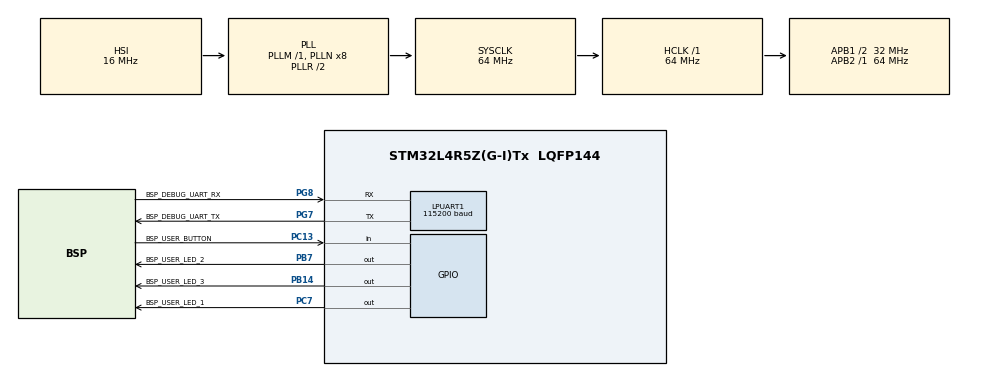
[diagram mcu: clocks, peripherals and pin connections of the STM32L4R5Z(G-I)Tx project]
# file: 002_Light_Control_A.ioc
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LPUART1.BaudRate=115200
LPUART1.WordLength=UART_WORDLENGTH_8B
Mcu.Family=STM32L4
Mcu.Name=STM32L4R5Z(G-I)Tx
Mcu.Package=LQFP144
NVIC.PriorityGroup=NVIC_PRIORITYGROUP_4
NVIC.TIM1_TRG_COM_TIM17_IRQn=true\:0\:0\:false\:false\:true\:true\:true\:true
NVIC.TIM1_UP_TIM16_IRQn=true\:0\:0\:false\:false\:true\:true\:true\:true
PB14.GPIO_Label=BSP_USER_LED_3
PB14.Signal=GPIO_Output
PB7.GPIO_Label=BSP_USER_LED_2
PB7.Signal=GPIO_Output
PC13.GPIO_Label=BSP_USER_BUTTON
PC13.GPIO_PuPd=GPIO_PULLDOWN
PC13.Signal=GPIO_Input
PC7.GPIO_Label=BSP_USER_LED_1
PC7.Signal=GPIO_Output
PG7.GPIO_Label=BSP_DEBUG_UART_TX
PG7.Mode=Asynchronous
PG7.Signal=LPUART1_TX
PG8.GPIO_Label=BSP_DEBUG_UART_RX
PG8.Mode=Asynchronous
PG8.Signal=LPUART1_RX
ProjectManager.HeapSize=0x200
ProjectManager.StackSize=0x400
ProjectManager.TargetToolchain=STM32CubeIDE
RCC.48MHZClocksFreq_Value=24000000
RCC.ADCFreq_Value=64000000
RCC.AHBFreq_Value=64000000
RCC.APB1CLKDivider=RCC_HCLK_DIV2
RCC.APB1Freq_Value=32000000
RCC.APB1TimFreq_Value=64000000
RCC.APB2Freq_Value=64000000
RCC.APB2TimFreq_Value=64000000
RCC.CortexFreq_Value=64000000
RCC.HCLKFreq_Value=64000000
RCC.HSE_VALUE=8000000
RCC.HSI48_VALUE=48000000
RCC.HSI_VALUE=16000000
RCC.LSE_VALUE=32768
RCC.MSI_VALUE=4000000
RCC.PLLMUL=RCC_PLL_MUL9
RCC.PLLSourceVirtual=RCC_PLLSOURCE_HSI
RCC.PRESCALERUSB=RCC_USBCLKSOURCE_PLL_DIV1_5
RCC.SYSCLKFreq_VALUE=64000000
RCC.SYSCLKSource=RCC_SYSCLKSOURCE_PLLCLK
RCC.SYSCLKSourceVirtual=RCC_SYSCLKSOURCE_PLLCLK
RCC.USBFreq_Value=64000000
RCC.VCOOutputFreq_Value=128000000
TIM16.Period=1000-1
TIM16.Prescaler=64000-1
TIM17.Prescaler=64000-1
VP_TIM16_VS_ClockSourceINT.Mode=Enable_Timer
VP_TIM17_VS_ClockSourceINT.Mode=Enable_Timer
board=NUCLEO-L4R5ZI

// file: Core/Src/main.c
/* USER CODE BEGIN Header */
/**
  ******************************************************************************
  * @file           : main.c
  * @brief          : Main program body
  ******************************************************************************
  * @attention
  *
  * Copyright (c) 2024 STMicroelectronics.
  * All rights reserved.
  *
  * This software is licensed under terms that can be found in the LICENSE file
  * in the root directory of this software component.
  * If no LICENSE file comes with this software, it is provided AS-IS.
  *
  ******************************************************************************
  */
/* USER CODE END Header */
#include "main.h"

/* USER CODE BEGIN Includes */
#include "stdio.h"
/* USER CODE END Includes */

UART_HandleTypeDef hlpuart1;

TIM_HandleTypeDef htim16;
TIM_HandleTypeDef htim17;

/* USER CODE BEGIN PV */

enum event{
	BLINK,
	ON,
	OFF,
	SCROLL
};

typedef enum{
	LIGHTS_OFF,
	LIGHT_BLINK,
	LIGHTS_ON,
	LIGHTS_SCROLL
}light_state_t;

light_state_t curr_state = LIGHTS_OFF;

uint8_t led_index = 0;
uint8_t rx_buffer;
uint8_t rx_data;

/* USER CODE END PV */

void SystemClock_Config(void);
static void MX_GPIO_Init(void);
static void MX_LPUART1_UART_Init(void);
static void MX_TIM16_Init(void);
static void MX_TIM17_Init(void);
/* USER CODE BEGIN PFP */
void lights_on();
void lights_blink();
void lights_off();
void lights_scroll();
/* USER CODE END PFP */

/* USER CODE BEGIN 0 */

/* state machine function
 *
 * outer switch case is for state transition
 * inner switch case is for event transition  */
void light_state_machine(uint8_t event)
{
	switch (curr_state) {
		case LIGHTS_OFF:{
			switch (event) {
				case BLINK:{
					curr_state = LIGHT_BLINK;			//change the current state
					HAL_TIM_Base_Start_IT(&htim16);		//start timer for led blinking
					HAL_TIM_Base_Stop_IT(&htim17);		//stop the timer
					break;
				}
				case ON:{
					lights_on();
					curr_state = LIGHTS_ON;				//change the current state
					HAL_TIM_Base_Stop_IT(&htim16);		//stop the timer
					HAL_TIM_Base_Stop_IT(&htim17);		//stop the timer
					break;
				}
				case SCROLL:{
					curr_state = LIGHTS_SCROLL;
					HAL_TIM_Base_Start_IT(&htim17);		//start the timer for led scrolling
					HAL_TIM_Base_Stop_IT(&htim16);		//stop the timer
					break;
				}
			}
			break;
		}

		case LIGHT_BLINK:{
			switch (event) {
				case ON:{
					lights_on();
					curr_state = LIGHTS_ON;				//change the current state
					HAL_TIM_Base_Stop_IT(&htim16);		//stop the timer
					HAL_TIM_Base_Stop_IT(&htim17);		//stop the timer
					break;
				}
				case OFF:{
					lights_off();
					curr_state = LIGHTS_OFF;			//change the current state
					HAL_TIM_Base_Stop_IT(&htim16);		//stop the timer
					HAL_TIM_Base_Stop_IT(&htim17);		//stop the timer
					break;
				}
				case SCROLL:{
					curr_state = LIGHTS_SCROLL;
					HAL_TIM_Base_Start_IT(&htim17);		//start the timer for led scrolling
					HAL_TIM_Base_Stop_IT(&htim16);		//stop the timer
					break;
				}
			}
			break;
		}

		case LIGHTS_ON:{
			switch (event) {
				case BLINK:{
					curr_state = LIGHT_BLINK;			//change the current state
					HAL_TIM_Base_Start_IT(&htim16);		//start timer for led blinking
					HAL_TIM_Base_Stop_IT(&htim17);		//stop the timer
					break;
				}

				case OFF:{
					lights_off();
					curr_state = LIGHTS_OFF;			//change the current state
					HAL_TIM_Base_Stop_IT(&htim17);		//stop the timer
					HAL_TIM_Base_Stop_IT(&htim16);		//stop the timer
					break;
				}
				case SCROLL:{
					curr_state = LIGHTS_SCROLL;
					HAL_TIM_Base_Start_IT(&htim17);		//start the timer for led scrolling
					HAL_TIM_Base_Stop_IT(&htim16);		//stop the timer
					break;
				}
			}
			break;
		}

		case LIGHTS_SCROLL:{
			switch (event) {
				case ON:{
					lights_on();
					curr_state = LIGHTS_ON;				//change the current state
					HAL_TIM_Base_Stop_IT(&htim16);		//stop the timer
					HAL_TIM_Base_Stop_IT(&htim17);		//stop the timer
					break;
				}
				case OFF:{
					lights_off();
					curr_state = LIGHTS_OFF;			//change the current state
					HAL_TIM_Base_Stop_IT(&htim16);		//stop the timer
					HAL_TIM_Base_Stop_IT(&htim17);		//stop the timer
					break;
				}
				case BLINK:{
					curr_state = LIGHT_BLINK;			//change the current state
					HAL_TIM_Base_Start_IT(&htim16);		//start timer for led blinking
					HAL_TIM_Base_Stop_IT(&htim17);		//stop the timer
					break;
				}
			}
			break;
		}
	}
}

/* led blinking function */
void lights_blink()
{
	HAL_GPIO_TogglePin(BSP_USER_LED_1_GPIO_Port, BSP_USER_LED_1_Pin);
	HAL_GPIO_TogglePin(BSP_USER_LED_2_GPIO_Port, BSP_USER_LED_2_Pin);
	HAL_GPIO_TogglePin(BSP_USER_LED_3_GPIO_Port, BSP_USER_LED_3_Pin);
}

/* function for turning leds on */
void lights_on()
{
	HAL_GPIO_WritePin(BSP_USER_LED_1_GPIO_Port, BSP_USER_LED_1_Pin,
			GPIO_PIN_SET);
	HAL_GPIO_WritePin(BSP_USER_LED_2_GPIO_Port, BSP_USER_LED_2_Pin,
			GPIO_PIN_SET);
	HAL_GPIO_WritePin(BSP_USER_LED_3_GPIO_Port, BSP_USER_LED_3_Pin,
			GPIO_PIN_SET);
}

/* function for turning leds off */
void lights_off()
{
	HAL_GPIO_WritePin(BSP_USER_LED_1_GPIO_Port, BSP_USER_LED_1_Pin,
			GPIO_PIN_RESET);
	HAL_GPIO_WritePin(BSP_USER_LED_2_GPIO_Port, BSP_USER_LED_2_Pin,
			GPIO_PIN_RESET);
	HAL_GPIO_WritePin(BSP_USER_LED_3_GPIO_Port, BSP_USER_LED_3_Pin,
			GPIO_PIN_RESET);
}

void lights_scroll()
{
	HAL_GPIO_WritePin(BSP_USER_LED_1_GPIO_Port, BSP_USER_LED_1_Pin,
			GPIO_PIN_RESET);
	HAL_GPIO_WritePin(BSP_USER_LED_2_GPIO_Port, BSP_USER_LED_2_Pin,
			GPIO_PIN_RESET);
	HAL_GPIO_WritePin(BSP_USER_LED_3_GPIO_Port, BSP_USER_LED_3_Pin,
			GPIO_PIN_RESET);

	switch (led_index) {
	case 0:
		HAL_GPIO_WritePin(BSP_USER_LED_1_GPIO_Port, BSP_USER_LED_1_Pin,
				GPIO_PIN_SET);  // Turn on LED1
		break;
	case 1:
		HAL_GPIO_WritePin(BSP_USER_LED_2_GPIO_Port, BSP_USER_LED_2_Pin,
				GPIO_PIN_SET); // Turn on LED2
		break;
	case 2:
		HAL_GPIO_WritePin(BSP_USER_LED_3_GPIO_Port, BSP_USER_LED_3_Pin,
				GPIO_PIN_SET);  // Turn on LED3
		break;
	}

	led_index = (led_index + 1) % 3;  // Move to the next LED

}

/* this function wll call after every 1 second due to which leds can blink continuously */
void HAL_TIM_PeriodElapsedCallback(TIM_HandleTypeDef *htim)
{
	if (htim->Instance == TIM16)
	{
		if (curr_state == LIGHT_BLINK)
		{
			lights_blink();
		}

	}
	else if(htim->Instance == TIM17)
	{
		if(curr_state == LIGHTS_SCROLL)
		{
			lights_scroll();
		}
	}
}
/* USER CODE END 0 */

int main(void)
{

  /* MCU Configuration--------------------------------------------------------*/

  /* Reset of all peripherals, Initializes the Flash interface and the Systick. */
  HAL_Init();

  /* Configure the system clock */
  SystemClock_Config();

  /* Initialize all configured peripherals */
  MX_GPIO_Init();
  MX_LPUART1_UART_Init();
  MX_TIM16_Init();
  MX_TIM17_Init();
  /* USER CODE BEGIN 2 */

  HAL_TIM_Base_Start_IT(&htim16);
  HAL_TIM_Base_Start_IT(&htim17);

  /* USER CODE END 2 */

  /* Infinite loop */
  while (1)
  {

    /* USER CODE BEGIN 3 */

	  /* event dispatcher using uart
	   * receive the command through uart due to which respective event will generate */
	  if(HAL_UART_Receive(&hlpuart1, &rx_buffer, 1, HAL_MAX_DELAY) == HAL_OK)
	  {
//		  rx_data = rx_buffer;
//		  printf("received data is: %d\r\n", rx_data);

		  if(rx_buffer == 'b')
		  {
			  light_state_machine(BLINK);
		  }
		  else if(rx_buffer == 'o')
		  {
			  light_state_machine(ON);
		  }
		  else if(rx_buffer == 's')
		  {
			  light_state_machine(SCROLL);
		  }
		  else if(rx_buffer == 'f')
		  {
			  light_state_machine(OFF);
		  }
	  }

//	  else if(HAL_GPIO_ReadPin(BSP_USER_BUTTON_GPIO_Port, BSP_USER_BUTTON_Pin)== GPIO_PIN_SET)
//	  {
//		  stopblink = 1;
//		  light_state_machine(OFF);
//	  }
  }
  /* USER CODE END 3 */
}

void SystemClock_Config(void)
{
  RCC_OscInitTypeDef RCC_OscInitStruct = {0};
  RCC_ClkInitTypeDef RCC_ClkInitStruct = {0};

  /** Configure the main internal regulator output voltage
  */
  if (HAL_PWREx_ControlVoltageScaling(PWR_REGULATOR_VOLTAGE_SCALE1) != HAL_OK)
  {
    Error_Handler();
  }

  /** Initializes the RCC Oscillators according to the specified parameters
  * in the RCC_OscInitTypeDef structure.
  */
  RCC_OscInitStruct.OscillatorType = RCC_OSCILLATORTYPE_HSI;
  RCC_OscInitStruct.HSIState = RCC_HSI_ON;
  RCC_OscInitStruct.HSICalibrationValue = RCC_HSICALIBRATION_DEFAULT;
  RCC_OscInitStruct.PLL.PLLState = RCC_PLL_ON;
  RCC_OscInitStruct.PLL.PLLSource = RCC_PLLSOURCE_HSI;
  RCC_OscInitStruct.PLL.PLLM = 1;
  RCC_OscInitStruct.PLL.PLLN = 8;
  RCC_OscInitStruct.PLL.PLLP = RCC_PLLP_DIV2;
  RCC_OscInitStruct.PLL.PLLQ = RCC_PLLQ_DIV2;
  RCC_OscInitStruct.PLL.PLLR = RCC_PLLR_DIV2;
  if (HAL_RCC_OscConfig(&RCC_OscInitStruct) != HAL_OK)
  {
    Error_Handler();
  }

  /** Initializes the CPU, AHB and APB buses clocks
  */
  RCC_ClkInitStruct.ClockType = RCC_CLOCKTYPE_HCLK|RCC_CLOCKTYPE_SYSCLK
                              |RCC_CLOCKTYPE_PCLK1|RCC_CLOCKTYPE_PCLK2;
  RCC_ClkInitStruct.SYSCLKSource = RCC_SYSCLKSOURCE_PLLCLK;
  RCC_ClkInitStruct.AHBCLKDivider = RCC_SYSCLK_DIV1;
  RCC_ClkInitStruct.APB1CLKDivider = RCC_HCLK_DIV2;
  RCC_ClkInitStruct.APB2CLKDivider = RCC_HCLK_DIV1;

  if (HAL_RCC_ClockConfig(&RCC_ClkInitStruct, FLASH_LATENCY_3) != HAL_OK)
  {
    Error_Handler();
  }
}

static void MX_LPUART1_UART_Init(void)
{

  hlpuart1.Instance = LPUART1;
  hlpuart1.Init.BaudRate = 115200;
  hlpuart1.Init.WordLength = UART_WORDLENGTH_8B;
  hlpuart1.Init.StopBits = UART_STOPBITS_1;
  hlpuart1.Init.Parity = UART_PARITY_NONE;
  hlpuart1.Init.Mode = UART_MODE_TX_RX;
  hlpuart1.Init.HwFlowCtl = UART_HWCONTROL_NONE;
  hlpuart1.Init.OneBitSampling = UART_ONE_BIT_SAMPLE_DISABLE;
  hlpuart1.Init.ClockPrescaler = UART_PRESCALER_DIV1;
  hlpuart1.AdvancedInit.AdvFeatureInit = UART_ADVFEATURE_NO_INIT;
  hlpuart1.FifoMode = UART_FIFOMODE_DISABLE;
  if (HAL_UART_Init(&hlpuart1) != HAL_OK)
  {
    Error_Handler();
  }
  if (HAL_UARTEx_SetTxFifoThreshold(&hlpuart1, UART_TXFIFO_THRESHOLD_1_8) != HAL_OK)
  {
    Error_Handler();
  }
  if (HAL_UARTEx_SetRxFifoThreshold(&hlpuart1, UART_RXFIFO_THRESHOLD_1_8) != HAL_OK)
  {
    Error_Handler();
  }
  if (HAL_UARTEx_DisableFifoMode(&hlpuart1) != HAL_OK)
  {
    Error_Handler();
  }

}

static void MX_TIM16_Init(void)
{

  htim16.Instance = TIM16;
  htim16.Init.Prescaler = 64000-1;
  htim16.Init.CounterMode = TIM_COUNTERMODE_UP;
  htim16.Init.Period = 500-1;
  htim16.Init.ClockDivision = TIM_CLOCKDIVISION_DIV1;
  htim16.Init.RepetitionCounter = 0;
  htim16.Init.AutoReloadPreload = TIM_AUTORELOAD_PRELOAD_DISABLE;
  if (HAL_TIM_Base_Init(&htim16) != HAL_OK)
  {
    Error_Handler();
  }

}

static void MX_TIM17_Init(void)
{

  htim17.Instance = TIM17;
  htim17.Init.Prescaler = 64000-1;
  htim17.Init.CounterMode = TIM_COUNTERMODE_UP;
  htim17.Init.Period = 200-1;
  htim17.Init.ClockDivision = TIM_CLOCKDIVISION_DIV1;
  htim17.Init.RepetitionCounter = 0;
  htim17.Init.AutoReloadPreload = TIM_AUTORELOAD_PRELOAD_DISABLE;
  if (HAL_TIM_Base_Init(&htim17) != HAL_OK)
  {
    Error_Handler();
  }

}

static void MX_GPIO_Init(void)
{
  GPIO_InitTypeDef GPIO_InitStruct = {0};

  /* GPIO Ports Clock Enable */
  __HAL_RCC_GPIOC_CLK_ENABLE();
  __HAL_RCC_GPIOB_CLK_ENABLE();
  __HAL_RCC_GPIOG_CLK_ENABLE();
  HAL_PWREx_EnableVddIO2();

  /*Configure GPIO pin Output Level */
  HAL_GPIO_WritePin(GPIOB, BSP_USER_LED_3_Pin|BSP_USER_LED_2_Pin, GPIO_PIN_RESET);

  /*Configure GPIO pin Output Level */
  HAL_GPIO_WritePin(BSP_USER_LED_1_GPIO_Port, BSP_USER_LED_1_Pin, GPIO_PIN_RESET);

  /*Configure GPIO pin : BSP_USER_BUTTON_Pin */
  GPIO_InitStruct.Pin = BSP_USER_BUTTON_Pin;
  GPIO_InitStruct.Mode = GPIO_MODE_INPUT;
  GPIO_InitStruct.Pull = GPIO_PULLDOWN;
  HAL_GPIO_Init(BSP_USER_BUTTON_GPIO_Port, &GPIO_InitStruct);

  /*Configure GPIO pins : BSP_USER_LED_3_Pin BSP_USER_LED_2_Pin */
  GPIO_InitStruct.Pin = BSP_USER_LED_3_Pin|BSP_USER_LED_2_Pin;
  GPIO_InitStruct.Mode = GPIO_MODE_OUTPUT_PP;
  GPIO_InitStruct.Pull = GPIO_NOPULL;
  GPIO_InitStruct.Speed = GPIO_SPEED_FREQ_LOW;
  HAL_GPIO_Init(GPIOB, &GPIO_InitStruct);

  /*Configure GPIO pin : BSP_USER_LED_1_Pin */
  GPIO_InitStruct.Pin = BSP_USER_LED_1_Pin;
  GPIO_InitStruct.Mode = GPIO_MODE_OUTPUT_PP;
  GPIO_InitStruct.Pull = GPIO_NOPULL;
  GPIO_InitStruct.Speed = GPIO_SPEED_FREQ_LOW;
  HAL_GPIO_Init(BSP_USER_LED_1_GPIO_Port, &GPIO_InitStruct);

}

void Error_Handler(void)
{
  __disable_irq();
  while (1)
  {
  }
}
